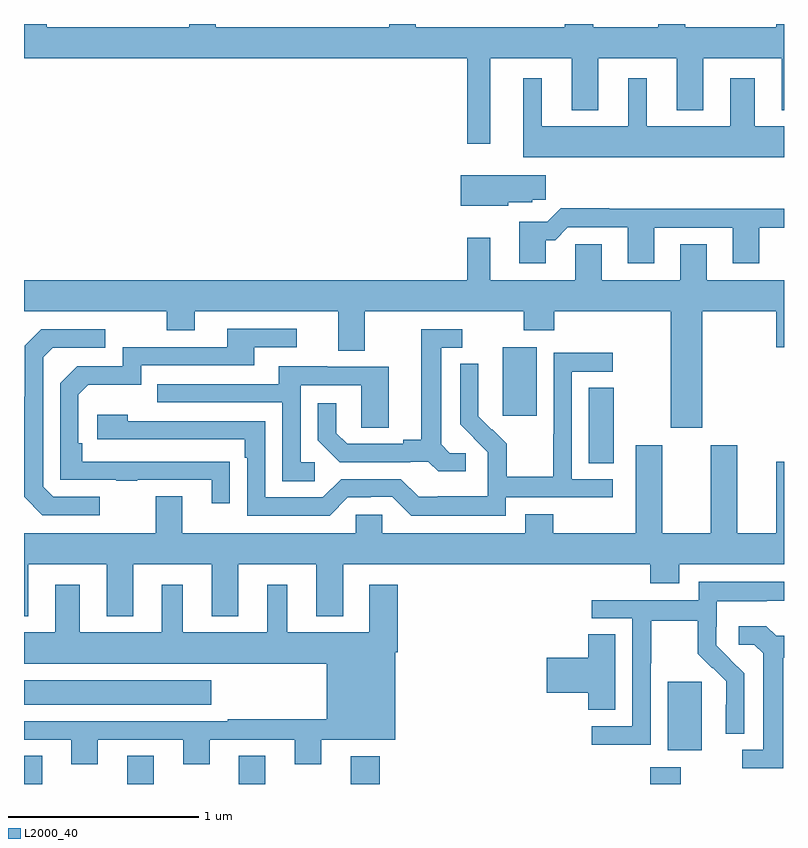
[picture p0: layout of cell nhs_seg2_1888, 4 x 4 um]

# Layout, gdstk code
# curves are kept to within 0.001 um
import gdstk
lib = gdstk.Library(unit=1e-6, precision=1e-09)
def R(c, l, rs):  # rectangles x0, y0, x1, y1
    for r in rs: c.add(gdstk.rectangle(r[:2], r[2:], *l))
def P(c, l, *ps):  # polygons
    for p in ps: c.add(gdstk.Polygon(p, *l))
L2000_40 = (2000, 40)

nhs_seg2_1888 = lib.new_cell('nhs_seg2_1888')
R(nhs_seg2_1888, L2000_40, [(209,659.8,209.095,659.948), (209.543,659.8,209.683,659.948), (210.131,659.8,210.271,659.948), (210.719,659.8,210.872,659.947), (212.297,659.8,212.457,659.887), (212.387,659.978,212.566,660.339), (209,660.218,209.986,660.346), (211.973,661.489,212.104,661.886), (211.52,661.737,211.699,662.098)])
P(nhs_seg2_1888, L2000_40, [(211.453,663.62),(211.883,663.62),(211.883,663.347),(212.023,663.347),(212.023,663.62),(212.435,663.62),(212.435,663.347),(212.575,663.347),(212.575,663.62),(212.987,663.62),(212.987,663.347),(213,663.347),(213,663.8),(212.96,663.8),(212.96,663.784),(212.479,663.784),(212.479,663.8),(212.339,663.8),(212.339,663.784),(211.995,663.784),(211.995,663.8),(211.847,663.8),(211.847,663.784),(211.063,663.784),(211.063,663.8),(210.923,663.8),(210.923,663.784),(210.009,663.784),(210.009,663.8),(209.871,663.8),(209.871,663.784),(209.119,663.784),(209.119,663.8),(209,663.8),(209,663.62),(211.332,663.62),(211.332,663.171),(211.453,663.171)],
  [(213,663.262),(212.845,663.262),(212.845,663.514),(212.717,663.514),(212.717,663.262),(212.278,663.262),(212.278,663.514),(212.18,663.514),(212.18,663.262),(211.726,663.262),(211.726,663.514),(211.628,663.514),(211.628,663.098),(213,663.098)],
  [(211.548,662.861),(211.674,662.861),(211.674,662.875),(211.747,662.875),(211.747,663.004),(211.298,663.004),(211.298,662.843),(211.548,662.843)],
  [(211.747,662.663),(211.796,662.663),(211.863,662.73),(212.177,662.73),(212.177,662.541),(212.317,662.541),(212.317,662.727),(212.729,662.727),(212.729,662.541),(212.869,662.541),(212.869,662.727),(213,662.727),(213,662.828),(212.081,662.828),(212.081,662.831),(211.826,662.831),(211.755,662.76),(211.607,662.76),(211.607,662.541),(211.747,662.541)],
  [(209,662.288),(209.752,662.288),(209.752,662.189),(209.899,662.189),(209.899,662.288),(210.653,662.288),(210.653,662.08),(210.793,662.08),(210.793,662.288),(211.63,662.288),(211.63,662.189),(211.79,662.189),(211.79,662.288),(212.405,662.288),(212.405,661.674),(212.569,661.674),(212.569,662.288),(212.96,662.288),(212.96,662.1),(213,662.1),(213,662.452),(212.593,662.452),(212.593,662.642),(212.453,662.642),(212.453,662.452),(212.041,662.452),(212.041,662.642),(211.902,662.642),(211.902,662.452),(211.453,662.452),(211.453,662.674),(211.332,662.674),(211.332,662.452),(209,662.452)],
  [(210.083,661.496),(209.306,661.497),(209.306,661.594),(209.286,661.594),(209.286,661.848),(209.339,661.901),(209.616,661.901),(209.616,662.004),(210.211,662.004),(210.211,662.1),(210.436,662.1),(210.436,662.196),(210.071,662.196),(210.071,662.1),(209.52,662.1),(209.52,661.998),(209.28,661.998),(209.19,661.908),(209.19,661.401),(209.485,661.401),(209.485,661.396),(209.597,661.396),(209.597,661.401),(209.987,661.401),(209.987,661.278),(210.083,661.278)],
  [(211.324,661.542),(211.242,661.542),(211.195,661.589),(211.195,662.097),(211.306,662.097),(211.306,662.193),(211.091,662.193),(211.091,661.613),(210.995,661.613),(210.995,661.59),(210.7,661.59),(210.643,661.647),(210.643,661.804),(210.546,661.804),(210.546,661.61),(210.662,661.494),(211.034,661.494),(211.034,661.497),(211.128,661.497),(211.18,661.445),(211.324,661.445)],
  [(209.398,661.311),(209.154,661.311),(209.1,661.365),(209.1,662.046),(209.151,662.097),(209.428,662.097),(209.428,662.193),(209.091,662.193),(209.004,662.106),(209.004,661.837),(209,661.837),(209,661.313),(209.097,661.215),(209.398,661.215)],
  [(211.536,661.308),(212.098,661.308),(212.098,661.404),(211.884,661.404),(211.884,661.971),(212.098,661.971),(212.098,662.07),(211.788,662.07),(211.788,661.64),(211.786,661.64),(211.786,661.417),(211.541,661.417),(211.541,661.591),(211.464,661.668),(211.461,661.665),(211.391,661.736),(211.392,662.012),(211.296,662.012),(211.296,661.694),(211.442,661.546),(211.442,661.449),(211.44,661.449),(211.44,661.315),(211.177,661.315),(211.177,661.311),(211.077,661.311),(210.984,661.404),(210.669,661.404),(210.573,661.308),(210.27,661.308),(210.27,661.71),(209.546,661.71),(209.546,661.744),(209.385,661.744),(209.385,661.614),(210.161,661.614),(210.161,661.517),(210.174,661.517),(210.174,661.212),(210.609,661.212),(210.705,661.308),(210.824,661.308),(210.824,661.311),(210.939,661.311),(211.039,661.211),(211.536,661.211)],
  [(210.529,661.494),(210.456,661.494),(210.456,661.899),(210.774,661.899),(210.774,661.675),(210.919,661.675),(210.919,661.995),(210.595,661.995),(210.595,661.999),(210.341,661.999),(210.341,661.905),(209.701,661.905),(209.701,661.809),(210.36,661.809),(210.36,661.393),(210.529,661.393)],
  [(209.023,660.956),(209.435,660.956),(209.435,660.683),(209.575,660.683),(209.575,660.956),(209.987,660.956),(209.987,660.683),(210.127,660.683),(210.127,660.956),(210.539,660.956),(210.539,660.683),(210.679,660.683),(210.679,660.956),(212.297,660.956),(212.297,660.857),(212.449,660.857),(212.449,660.956),(213,660.956),(213,661.495),(212.96,661.495),(212.96,661.12),(212.755,661.12),(212.755,661.582),(212.615,661.582),(212.615,661.12),(212.359,661.12),(212.359,661.582),(212.219,661.582),(212.219,661.12),(211.785,661.12),(211.785,661.219),(211.637,661.219),(211.637,661.12),(210.885,661.12),(210.885,661.218),(210.747,661.218),(210.747,661.12),(209.833,661.12),(209.833,661.315),(209.693,661.315),(209.693,661.12),(209,661.12),(209,660.683),(209.023,660.683)],
  [(212.298,660.436),(212.301,660.436),(212.301,660.66),(212.545,660.66),(212.545,660.485),(212.622,660.408),(212.625,660.411),(212.696,660.341),(212.696,660.218),(212.694,660.218),(212.694,660.064),(212.79,660.064),(212.79,660.382),(212.644,660.53),(212.644,660.627),(212.646,660.627),(212.646,660.761),(212.909,660.761),(212.909,660.765),(213,660.765),(213,660.865),(212.55,660.865),(212.55,660.768),(211.989,660.768),(211.989,660.672),(212.202,660.672),(212.202,660.105),(211.989,660.105),(211.989,660.007),(212.298,660.007)],
  [(209.389,660.033),(209.837,660.033),(209.837,659.904),(209.977,659.904),(209.977,660.033),(210.425,660.033),(210.425,659.904),(210.565,659.904),(210.565,660.032),(210.955,660.032),(210.955,660.494),(210.968,660.494),(210.968,660.85),(210.818,660.85),(210.818,660.598),(210.385,660.598),(210.385,660.85),(210.281,660.85),(210.281,660.598),(209.836,660.598),(209.836,660.85),(209.726,660.85),(209.726,660.598),(209.293,660.598),(209.293,660.85),(209.165,660.85),(209.165,660.598),(209,660.598),(209,660.434),(210.593,660.434),(210.593,660.142),(210.073,660.142),(210.073,660.129),(209,660.129),(209,660.033),(209.249,660.033),(209.249,659.904),(209.389,659.904)],
  [(212.995,660.464),(213,660.464),(213,660.579),(212.958,660.579),(212.906,660.631),(212.763,660.631),(212.763,660.534),(212.844,660.534),(212.891,660.487),(212.891,659.979),(212.781,659.979),(212.781,659.883),(212.995,659.883)],
  [(212.113,660.587),(211.97,660.587),(211.97,660.464),(211.752,660.464),(211.752,660.281),(211.97,660.281),(211.97,660.19),(212.113,660.19)])

lib.write_gds('nhs_seg2_1888.gds')
